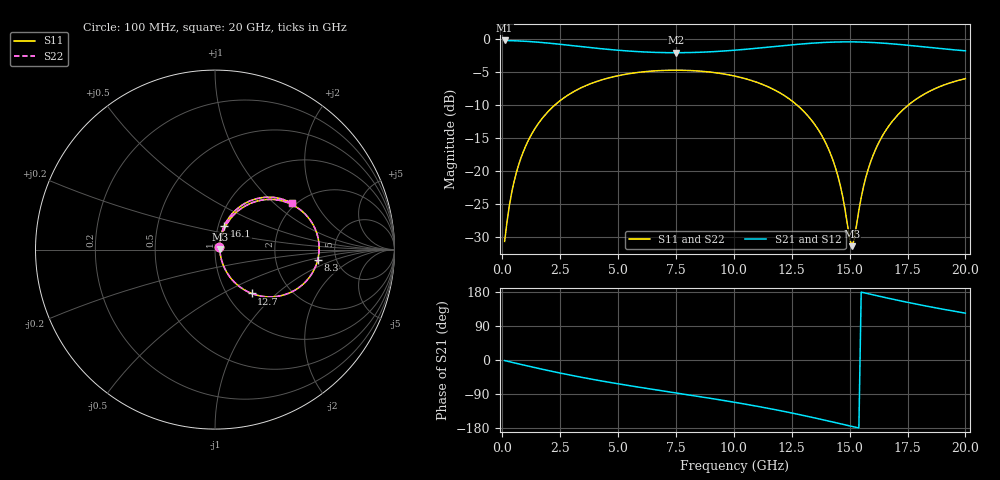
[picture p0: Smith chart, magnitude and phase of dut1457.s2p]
! Touchstone file exported from HFSS 2026.1.0
!  File:  C:/ffzhzh/LocalFiles/Ansys_Project_Files/temp_train_TSV_RDL_1457_1783359613_48288.aedt
!  Generated:  01:54:28 AM Jul  7, 2026
!  Design:  TSV_RDL
!  Project:  temp_train_TSV_RDL_1457_1783359613_48288
! Variables:
!  h_bsmrdl = 3.49um
!  h_ox = 20um
!  h_rdl = 5um
!  h_sub = 67.33um
!  h_tmrdl = 5.29um
!  h_tsv = 67.33um
!  h_via = 3um
!  l_bsmrdl = 604.38um
!  l_sub = 3950.24um
!  l_tmrdl = 402.46um
!  m_sub = 200um
!  pitch = 51.3um
!  r_tsv = 2.25um
!  s_tmrdl = 10um
!  w_bsmrdl = 28um
!  w_sub = 500um
!  w_tmrdl = 14.42um
!  x_tsv_center1 = 409.67um
!  x_tsv_center2 = 1042.05um
!  x_tsv_center3 = 1458.93um
!  x_tsv_center4 = 2091.31um
!  x_tsv_center5 = 2508.19um
!  x_tsv_center6 = 3140.57um
# GHz S MA R 50.000000
! Terminal data exported
! Port[1] = TM_RDL1_1_T1
! Port[2] = TM_RDL5_1_T1
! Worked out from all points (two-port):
!   200 points, 100 MHz to 20 GHz, reference 50 ohm
!   highest |S21| = -0.21 dB at 100 MHz (marker M1); lowest = -2.1 dB at 7.5 GHz (marker M2)
!   |S21| within 3 dB of the highest: start of sweep to end of sweep
!   lowest |S11| = -31.4 dB at 15.1 GHz (marker M3), VSWR 1.06, Z = 52.8 + j0.0982 ohm
!   |S11| at or under -10 dB: start of sweep to 2.274 GHz; 12.72 GHz to 17.54 GHz (4.817 GHz wide, 31.8 % of centre)
!   |S22| runs from -31.4 to -4.7 dB; largest |S21 - S12| = 1.6e-14
!   S11 on the Smith chart (normalised r, x): 100 MHz: 1.05, +0.03; 8.3 GHz: 3.58, -0.63; 12.7 GHz: 1.30, -0.71; 16.1 GHz: 1.07, +0.29; 20 GHz: 1.91, +1.31
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0.1  0.02915 32.4  0.9757 -1.5  0.9757 -1.5  0.02915 32.4
! Gamma 0 0 0 0
! Port Impedance 50 0 50 0
0.3  0.0538 57.3  0.9734 -4.4  0.9734 -4.4  0.0538 57.3
0.5  0.08175 63.9  0.9707 -7.3  0.9707 -7.3  0.08175 63.9
1.2  0.1806 64.1  0.9567 -17.2  0.9567 -17.2  0.1806 64.1
2.2  0.3078 54.2  0.9239 -30.7  0.9239 -30.7  0.3078 54.2
3.5  0.4346 39.8  0.8727 -46.6  0.8727 -46.6  0.4346 39.8
6.8  0.5765 7.7  0.7903 -80.3  0.7903 -80.3  0.5765 7.7
7.5  0.5804 1.3  0.7877 -86.9  0.7877 -86.9  0.5804 1.3
8.3  0.5748 -5.9  0.7914 -94.5  0.7914 -94.5  0.5748 -5.9
10.1  0.521 -22.8  0.8245 -112.3  0.8245 -112.3  0.521 -22.8
12.7  0.3189 -50.1  0.9101 -142.4  0.9101 -142.4  0.3189 -50.1
13.4  0.2365 -57.4  0.9308 -151.6  0.9308 -151.6  0.2365 -57.3
14  0.1585 -62.1  0.9439 -159.8  0.9439 -159.8  0.1584 -62.1
14.4  0.1041 -62.4  0.9494 -165.4  0.9494 -165.4  0.1041 -62.3
14.7  0.06388 -56.6  0.9516 -169.6  0.9516 -169.6  0.06388 -56.5
15.1  0.02683 2.0  0.9519 -175.3  0.9519 -175.3  0.02685 2.0
15.2  0.03019 29.0  0.9514 -176.7  0.9514 -176.7  0.03022 29.0
15.6  0.0758 65.5  0.9478 177.7  0.9478 177.7  0.07583 65.5
16.1  0.1427 68.6  0.9392 170.7  0.9392 170.7  0.1427 68.6
16.7  0.22 64.6  0.9239 162.6  0.9239 162.6  0.22 64.6
18.1  0.3711 50.2  0.8762 144.8  0.8762 144.8  0.3711 50.2
20  0.5007 30.9  0.8143 123.6  0.8143 123.6  0.5007 30.9
